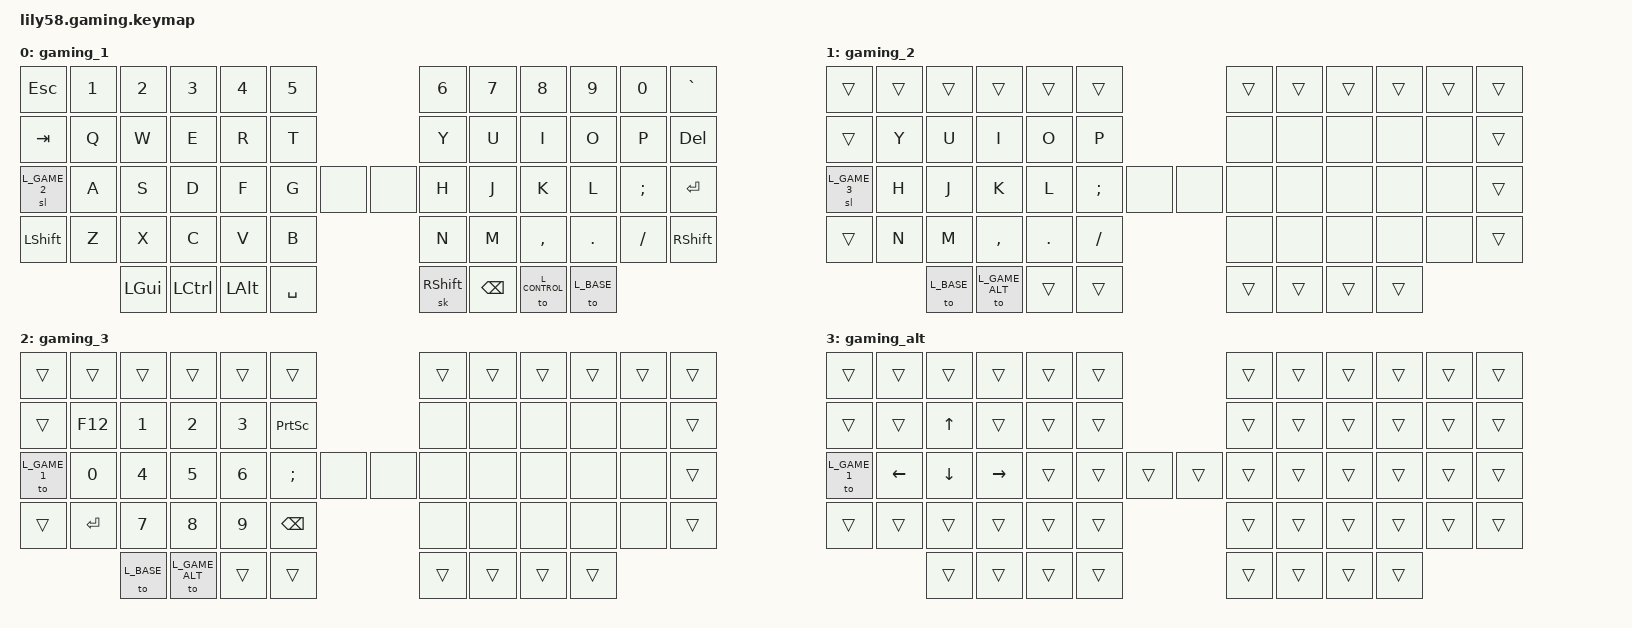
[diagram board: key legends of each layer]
#include <behaviors.dtsi>
#include <dt-bindings/zmk/keys.h>
#include "../app/zmk-helpers/include/zmk-helpers/helper.h"
#include "../config/defines.h"

// QWERTY-style layers for gaming
// Optimized for left-hand split

ZMK_LAYER(gaming_1,
// ┌─────────────────────────────────────────────────────────────────────────────────────────────────────────────────────────────────────────────────────────────────────────────────────────────────────────────────────────────────────────────────────────────────────────────────────────┐
     &kp ESCAPE            &kp NUMBER_1          &kp NUMBER_2          &kp NUMBER_3          &kp NUMBER_4          &kp NUMBER_5                            &kp NUMBER_6          &kp NUMBER_7          &kp NUMBER_8          &kp NUMBER_9          &kp NUMBER_0          &kp GRAVE            
// ├─────────────────────┼─────────────────────┼─────────────────────┼─────────────────────┼─────────────────────┼─────────────────────┼─────────────────┼─────────────────────┼─────────────────────┼─────────────────────┼─────────────────────┼─────────────────────┼─────────────────────┤
     &kp TAB               &kp Q                 &kp W                 &kp E                 &kp R                 &kp T                                   &kp Y                 &kp U                 &kp I                 &kp O                 &kp P                 &kp DELETE           
// ├─────────────────────┼─────────────────────┼─────────────────────┼─────────────────────┼─────────────────────┼─────────────────────┼────────┬────────┼─────────────────────┼─────────────────────┼─────────────────────┼─────────────────────┼─────────────────────┼─────────────────────┤
     &sl L_GAME_2          &kp A                 &kp S                 &kp D                 &kp F                 &kp G                 &none    &none    &kp H                 &kp J                 &kp K                 &kp L                 &kp SEMICOLON         &kp ENTER            
// ├─────────────────────┼─────────────────────┼─────────────────────┼─────────────────────┼─────────────────────┼─────────────────────┼────────┴────────┼─────────────────────┼─────────────────────┼─────────────────────┼─────────────────────┼─────────────────────┼─────────────────────┤
     &kp LEFT_SHIFT        &kp Z                 &kp X                 &kp C                 &kp V                 &kp B                                   &kp N                 &kp M                 &kp COMMA             &kp PERIOD            &kp SLASH             &kp RIGHT_SHIFT      
// ├─────────────────────┴─────────────────────┴─────────────────────┴─────────────────────┼─────────────────────┼─────────────────────┼─────────────────┼─────────────────────┼─────────────────────┼─────────────────────┼─────────────────────┼─────────────────────┴─────────────────────┤
                                                 &kp LEFT_GUI          &kp LEFT_CONTROL      &kp LEFT_ALT          &kp SPACE                               &sk RIGHT_SHIFT       &kp BACKSPACE         &to L_CONTROL         &to L_BASE                                                       
// └───────────────────────────────────────────┴─────────────────────┴─────────────────────┴─────────────────────┴─────────────────────┴─────────────────┴─────────────────────┴─────────────────────┴─────────────────────┴─────────────────────┴───────────────────────────────────────────┘
)

ZMK_LAYER(gaming_2,
// ┌─────────────────────────────────────────────────────────────────────────────────────────────────────────────────────────────────────────────────────────────────────────────────────────────────────────────────────────────────────────────────────────────────────────────────────────┐
     &trans                &trans                &trans                &trans                &trans                &trans                                  &trans                &trans                &trans                &trans                &trans                &trans                
// ├─────────────────────┼─────────────────────┼─────────────────────┼─────────────────────┼─────────────────────┼─────────────────────┼─────────────────┼─────────────────────┼─────────────────────┼─────────────────────┼─────────────────────┼─────────────────────┼─────────────────────┤
     &trans                &kp Y                 &kp U                 &kp I                 &kp O                 &kp P                                   &none                 &none                 &none                 &none                 &none                 &trans               
// ├─────────────────────┼─────────────────────┼─────────────────────┼─────────────────────┼─────────────────────┼─────────────────────┼────────┬────────┼─────────────────────┼─────────────────────┼─────────────────────┼─────────────────────┼─────────────────────┼─────────────────────┤
     &sl L_GAME_3          &kp H                 &kp J                 &kp K                 &kp L                 &kp SEMICOLON         &none    &none    &none                 &none                 &none                 &none                 &none                 &trans               
// ├─────────────────────┼─────────────────────┼─────────────────────┼─────────────────────┼─────────────────────┼─────────────────────┼────────┴────────┼─────────────────────┼─────────────────────┼─────────────────────┼─────────────────────┼─────────────────────┼─────────────────────┤
     &trans                &kp N                 &kp M                 &kp COMMA             &kp PERIOD            &kp SLASH                               &none                 &none                 &none                 &none                 &none                 &trans               
// ├─────────────────────┴─────────────────────┴─────────────────────┴─────────────────────┼─────────────────────┼─────────────────────┼─────────────────┼─────────────────────┼─────────────────────┼─────────────────────┼─────────────────────┼─────────────────────┴─────────────────────┤
                                                 &to L_BASE            &to L_GAME_ALT        &trans                &trans                                  &trans                &trans                &trans                &trans                                                           
// └───────────────────────────────────────────┴─────────────────────┴─────────────────────┴─────────────────────┴─────────────────────┴─────────────────┴─────────────────────┴─────────────────────┴─────────────────────┴─────────────────────┴───────────────────────────────────────────┘
)


ZMK_LAYER(gaming_3,
// ┌─────────────────────────────────────────────────────────────────────────────────────────────────────────────────────────────────────────────────────────────────────────────────────────────────────────────────────────────────────────────────────────────────────────────────────────┐
     &trans                &trans                &trans                &trans                &trans                &trans                                  &trans                &trans                &trans                &trans                &trans                &trans                
// ├─────────────────────┼─────────────────────┼─────────────────────┼─────────────────────┼─────────────────────┼─────────────────────┼─────────────────┼─────────────────────┼─────────────────────┼─────────────────────┼─────────────────────┼─────────────────────┼─────────────────────┤
     &trans                &kp F12               &kp NUMBER_1          &kp NUMBER_2          &kp NUMBER_3          &kp PRINTSCREEN                         &none                 &none                 &none                 &none                 &none                 &trans               
// ├─────────────────────┼─────────────────────┼─────────────────────┼─────────────────────┼─────────────────────┼─────────────────────┼────────┬────────┼─────────────────────┼─────────────────────┼─────────────────────┼─────────────────────┼─────────────────────┼─────────────────────┤
     &to L_GAME_1          &kp NUMBER_0          &kp NUMBER_4          &kp NUMBER_5          &kp NUMBER_6          &kp SEMICOLON         &none    &none    &none                 &none                 &none                 &none                 &none                 &trans               
// ├─────────────────────┼─────────────────────┼─────────────────────┼─────────────────────┼─────────────────────┼─────────────────────┼────────┴────────┼─────────────────────┼─────────────────────┼─────────────────────┼─────────────────────┼─────────────────────┼─────────────────────┤
     &trans                &kp RETURN            &kp NUMBER_7          &kp NUMBER_8          &kp NUMBER_9          &kp BACKSPACE                           &none                 &none                 &none                 &none                 &none                 &trans               
// ├─────────────────────┴─────────────────────┴─────────────────────┴─────────────────────┼─────────────────────┼─────────────────────┼─────────────────┼─────────────────────┼─────────────────────┼─────────────────────┼─────────────────────┼─────────────────────┴─────────────────────┤
                                                 &to L_BASE            &to L_GAME_ALT        &trans                &trans                                  &trans                &trans                &trans                &trans                                                           
// └───────────────────────────────────────────┴─────────────────────┴─────────────────────┴─────────────────────┴─────────────────────┴─────────────────┴─────────────────────┴─────────────────────┴─────────────────────┴─────────────────────┴───────────────────────────────────────────┘
)

ZMK_LAYER(gaming_alt,
// ┌─────────────────────────────────────────────────────────────────────────────────────────────────────────────────────────────────────────────────────────────────────────────────────────────────────────────────────────────────────────────────────────────────────────────────────────┐
     &trans                &trans                &trans                &trans                &trans                &trans                                  &trans                &trans                &trans                &trans                &trans                &trans                
// ├─────────────────────┼─────────────────────┼─────────────────────┼─────────────────────┼─────────────────────┼─────────────────────┼─────────────────┼─────────────────────┼─────────────────────┼─────────────────────┼─────────────────────┼─────────────────────┼─────────────────────┤
     &trans                &trans                &kp UP_ARROW          &trans                &trans                &trans                                  &trans                &trans                &trans                &trans                &trans                &trans               
// ├─────────────────────┼─────────────────────┼─────────────────────┼─────────────────────┼─────────────────────┼─────────────────────┼────────┬────────┼─────────────────────┼─────────────────────┼─────────────────────┼─────────────────────┼─────────────────────┼─────────────────────┤
     &to L_GAME_1          &kp LEFT_ARROW        &kp DOWN_ARROW        &kp RIGHT_ARROW       &trans                &trans                &trans   &trans   &trans                &trans                &trans                &trans                &trans                &trans               
// ├─────────────────────┼─────────────────────┼─────────────────────┼─────────────────────┼─────────────────────┼─────────────────────┼────────┴────────┼─────────────────────┼─────────────────────┼─────────────────────┼─────────────────────┼─────────────────────┼─────────────────────┤
     &trans                &trans                &trans                &trans                &trans                &trans                                  &trans                &trans                &trans                &trans                &trans                &trans               
// ├─────────────────────┴─────────────────────┴─────────────────────┴─────────────────────┼─────────────────────┼─────────────────────┼─────────────────┼─────────────────────┼─────────────────────┼─────────────────────┼─────────────────────┼─────────────────────┴─────────────────────┤
                                                 &trans                &trans                &trans                &trans                                  &trans                &trans                &trans                &trans                                                           
// └───────────────────────────────────────────┴─────────────────────┴─────────────────────┴─────────────────────┴─────────────────────┴─────────────────┴─────────────────────┴─────────────────────┴─────────────────────┴─────────────────────┴───────────────────────────────────────────┘
)

